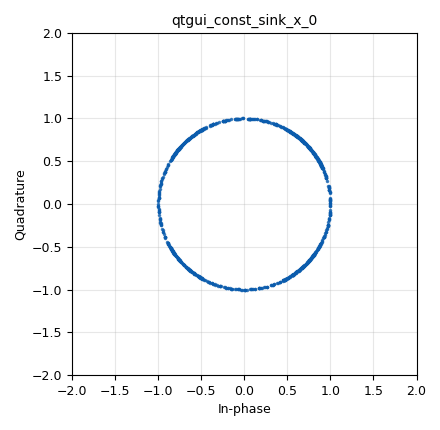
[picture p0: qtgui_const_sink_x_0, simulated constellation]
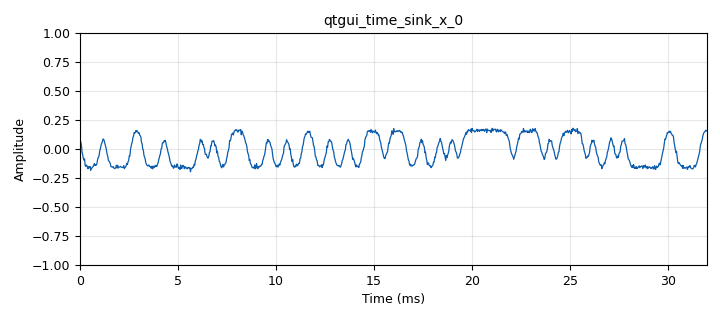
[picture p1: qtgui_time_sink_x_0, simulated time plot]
options:
  parameters:
    author: gefa
    generate_options: qt_gui
    id: hw_impair
    output_language: python
    title: hw_impair
  states: {}

blocks:
- name: samp_rate
  id: variable
  parameters:
    value: '32000'
  states: {}
- name: analog_quadrature_demod_cf_0
  id: analog_quadrature_demod_cf
  parameters:
    gain: '1'
  states: {}
- name: analog_random_source_x_0
  id: analog_random_source_x
  parameters:
    max: '256'
    min: '0'
    num_samps: '10000'
    repeat: 'True'
    type: byte
  states: {}
- name: blocks_throttle_0
  id: blocks_throttle
  parameters:
    samples_per_second: samp_rate
    type: complex
  states: {}
- name: channels_impairments_0
  id: channels_impairments
  parameters:
    freq_offset: '0'
    gamma: '0'
    i_ofs: '0'
    magbal: '0'
    phase_noise_mag: '0'
    phasebal: '0'
    q_ofs: '0'
  states: {}
- name: digital_gmsk_mod_0
  id: digital_gmsk_mod
  parameters:
    bt: '0.3'
    samples_per_symbol: '10'
  states: {}
- name: qtgui_const_sink_x_0
  id: qtgui_const_sink_x
  parameters:
    size: '1024'
    type: complex
  states: {}
- name: qtgui_time_sink_x_0
  id: qtgui_time_sink_x
  parameters:
    size: '1024'
    srate: samp_rate
    type: float
  states: {}
- name: qtgui_time_sink_x_1
  id: qtgui_time_sink_x
  parameters:
    ctrlpanel: 'True'
    size: '1024'
    srate: samp_rate
    type: complex
  states: {state: disabled}

connections:
- [analog_quadrature_demod_cf_0, '0', qtgui_time_sink_x_0, '0']
- [analog_random_source_x_0, '0', digital_gmsk_mod_0, '0']
- [blocks_throttle_0, '0', channels_impairments_0, '0']
- [channels_impairments_0, '0', analog_quadrature_demod_cf_0, '0']
- [channels_impairments_0, '0', qtgui_const_sink_x_0, '0']
- [digital_gmsk_mod_0, '0', blocks_throttle_0, '0']
- [digital_gmsk_mod_0, '0', qtgui_time_sink_x_1, '0']

metadata:
  file_format: 1
